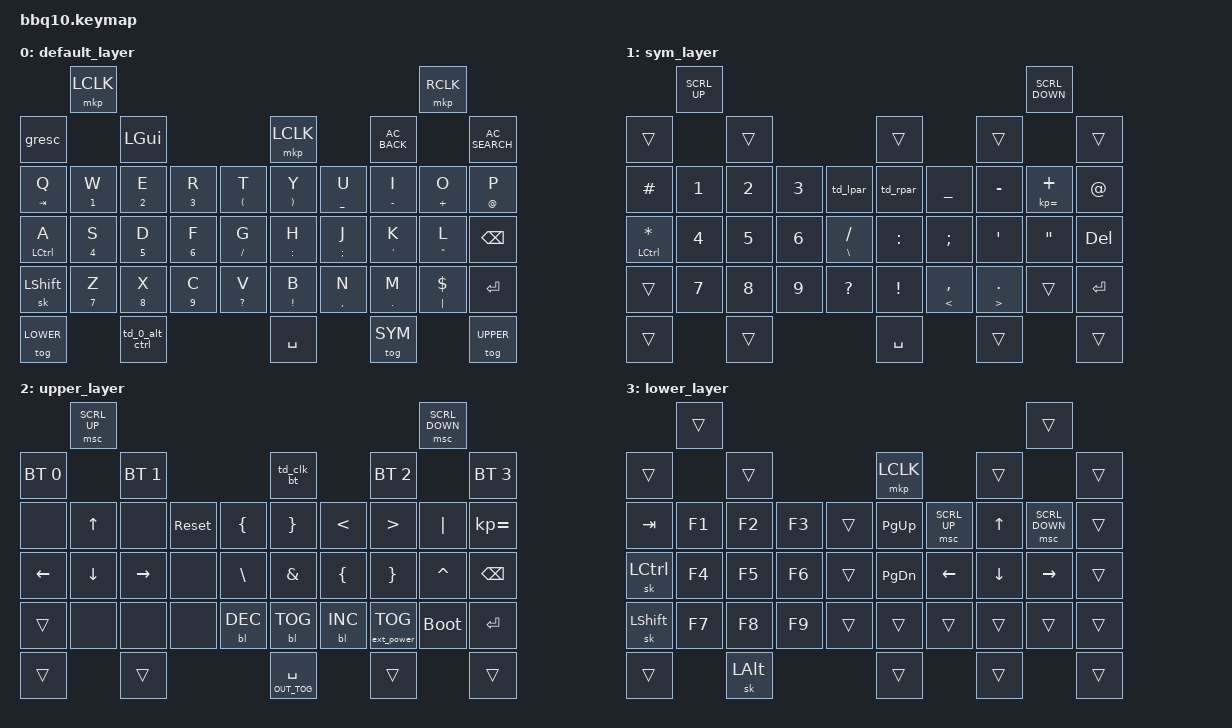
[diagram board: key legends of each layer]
/*
 * Copyright (c) 2023 ZitaoTech
 *
 * SPDX-License-Identifier: MIT
 */

#include <behaviors.dtsi>
#include <dt-bindings/zmk/keys.h>
#include <dt-bindings/zmk/bt.h>
#include <dt-bindings/zmk/outputs.h>
#include <dt-bindings/zmk/mouse.h>
#include <dt-bindings/zmk/backlight.h>
#include <dt-bindings/zmk/ext_power.h>
  
   
#define SYM 1
#define UPPER 2
#define LOWER 3

#define MO_TOG(layer) &mo_tog layer layer

&sk {
    release-after-ms = <3000>;
};


/ {
    behaviors {
        tap: tap {
            compatible = "zmk,behavior-macro-one-param";
                #binding-cells = <1>;
                bindings = <&macro_param_1to1 &kp MACRO_PLACEHOLDER>;
            };
    };
    behaviors {
  	    mtt: mod_tap_tap {
            compatible = "zmk,behavior-hold-tap";
            #binding-cells = <2>;
            flavor = "tap-preferred";
            tapping-term-ms = <200>;
            quick-tap-ms = <125>;
            require-prior-idle-ms = <125>;
            bindings = <&tap>, <&tap>;
        };
    };
    behaviors {
  	    sktt: mod_sk_tap {
            compatible = "zmk,behavior-hold-tap";
            #binding-cells = <2>;
            flavor = "tap-preferred";
            tapping-term-ms = <200>;
            quick-tap-ms = <125>;
            require-prior-idle-ms = <125>;
            bindings = <&sk>, <&tap>;  // press once to SK a mod, twice to tap
        };
    };
    behaviors {
        mo_tog: behavior_mo_tog {
            compatible = "zmk,behavior-hold-tap";
            #binding-cells = <2>;
            flavor = "hold-preferred";
            tapping-term-ms = <200>;
            bindings = <&mo>, <&tog>;
        };
    };
    behaviors {
        td_clk_bt: tap_dance_0 {
            compatible = "zmk,behavior-tap-dance";
            #binding-cells = <0>;
            tapping-term-ms = <400>;
            bindings = <&mkp LCLK>, <&bt BT_CLR>;
        };
    };
    behaviors {
        tog_out: tog_out {
            compatible = "zmk,behavior-hold-tap";
            #binding-cells = <2>;
            tapping-term-ms = <500>;
            bindings = <&out &kp>;
        };
    };
    behaviors {
        bhm: balanced_homerow_mods {
            compatible = "zmk,behavior-hold-tap";
            #binding-cells = <2>;
            tapping-term-ms = <200>;
            quick-tap-ms = <0>;
            flavor = "balanced";
            bindings = <&kp>, <&kp>;
        };
    };
    behaviors {
        td_lpar: lpar {
            compatible = "zmk,behavior-tap-dance";
            #binding-cells = <0>;
            tapping-term-ms = <400>;
            bindings = <&mtt LBKT LPAR>, <&mtt LT LBRC>;
        };
    };
    behaviors {
        td_lpar_t: lpar_t {
            compatible = "zmk,behavior-tap-dance";
            #binding-cells = <0>;
            tapping-term-ms = <400>;
            bindings = <&mtt LPAR T>, <&mtt LBRC LBKT>;
        };
    };
    behaviors {
        td_rpar: rpar {
            compatible = "zmk,behavior-tap-dance";
            #binding-cells = <0>;
            tapping-term-ms = <400>;
            bindings = <&mtt RBKT RPAR>, <&mtt GT RBRC>;
        };
    };
    behaviors {
        td_rpar_y: rpar_y {
            compatible = "zmk,behavior-tap-dance";
            #binding-cells = <0>;
            tapping-term-ms = <400>;
            bindings = <&mtt RPAR Y>, <&mtt RBRC RBKT>;
        };
    };
    behaviors {
        td_hash_gr_ti: hash_gr_ti {
            compatible = "zmk,behavior-tap-dance";
            #binding-cells = <0>;
            tapping-term-ms = <400>;
            bindings = <&kp HASH>, <&kp GRAVE>, <&kp TILDE>;
        };
    };
    behaviors {
        td_0_alt_ctrl: 0_alt_ctrl {
            compatible = "zmk,behavior-tap-dance";
            #binding-cells = <0>;
            tapping-term-ms = <400>;
            bindings = <&sk LCTRL>, <&sk LALT>, <&kp N0>;
        };
    };
    behaviors {
        gresc_inner: grave_escape_inner {
            compatible = "zmk,behavior-mod-morph";
            #binding-cells = <0>;
            bindings = <&kp GRAVE>, <&kp TILDE>;
            mods = <(MOD_LCTL|MOD_RCTL)>;
        };
    };
    behaviors {
        gresc: grave_escape {
            compatible = "zmk,behavior-mod-morph";
            #binding-cells = <0>;
            bindings = <&kp ESC>, <&gresc_inner>;
            mods = <(MOD_LSFT|MOD_RSFT)>;
        };
    };

    keymap {
        compatible = "zmk,keymap";

        default_layer {

            bindings = <
//         --------------------------------------------------------------------------------------------------------------------------         
//         |    Shoulder Key1    |                                                                             |    Shoulder Key2    |     
// |         Call key      |      Blackberry Key        |    Trackpad    |             Back Key                |             Endcall Key          |
// |     Q      |     W    |     E    |     R    |      T      |       Y        |       U        |        I        |       O      |      P        |     
// |     A      |     S    |     D    |     F    |      G      |       H        |       J        |        K        |       L      |      ←        |  
// |     alt    |     Z    |     X    |     C    |      V      |       B        |       N        |        M        |       $      |    Enter      |   
//        |         aA     |         0           |           SPACE              |         SYM         |        aA          |       
//        -----------------------------------------------------------------------------------------------------------------

                 &mkp LCLK                                                                                             &mkp RCLK
    &gresc                         &kp LGUI                                 &mkp LCLK                        &kp C_AC_BACK                       &kp C_AC_SEARCH
    &mtt TAB Q       &mtt N1 W     &mtt N2 E   &mtt N3 R   &mtt LPAR T      &mtt RPAR Y     &mtt UNDER U     &mtt MINUS I     &mtt PLUS O        &mtt AT P
    &bhm LCTRL A     &mtt N4 S     &mtt N5 D   &mtt N6 F   &mtt SLASH G     &mtt COLON H    &mtt SEMI J      &mtt APOS K      &mtt DQT L         &kp BSPC
    &sk LSHIFT       &mtt N7 Z     &mtt N8 X   &mtt N9 C   &mtt QMARK V     &mtt EXCL B     &mtt COMMA N     &mtt DOT M       &mtt PIPE DOLLAR   &kp ENTER
    &tog LOWER                     &td_0_alt_ctrl                           &kp SPACE                        &tog SYM                            &tog UPPER
            >;
        };


        sym_layer {

            bindings = <        
                 &kp SCRL_UP                                                                                     &kp SCRL_DOWN
    &trans                       &trans                                      &trans                           &trans                              &trans
    &kp HASH          &kp N1     &kp N2      &kp N3    &td_lpar              &td_rpar        &kp UNDER        &kp MINUS        &mtt KP_EQUAL PLUS &kp AT
    &bhm LCTRL STAR   &kp N4     &kp N5      &kp N6    &mtt BACKSLASH SLASH  &kp COLON       &kp SEMI         &kp APOS         &kp DQT            &kp DEL
    &trans            &kp N7     &kp N8      &kp N9    &kp QMARK             &kp EXCL        &mtt LT COMMA    &mtt GT DOT      &trans             &kp ENTER
    &trans                       &trans                                      &kp SPACE                        &trans                              &trans
            >;
        };

        upper_layer {

            bindings = <
                 &msc SCRL_UP                                                                                       &msc SCRL_DOWN
    &bt  BT_SEL 0            &bt BT_SEL 1                         &td_clk_bt                     &bt BT_SEL 2                        &bt BT_SEL 3
    &none         &kp UP     &none       &sys_reset &kp LBRC      &kp RBRC      &kp LT           &kp GT             &kp PIPE         &kp KP_EQUAL
    &kp  LEFT     &kp DOWN   &kp RIGHT   &none      &kp BSLH      &kp AMPS      &kp LBRC         &kp RBRC           &kp CARET        &kp BSPC
    &trans        &none      &none       &none      &bl BL_DEC    &bl BL_TOG    &bl BL_INC       &ext_power EP_TOG  &bootloader      &kp ENTER
    &trans                   &trans                               &tog_out OUT_TOG SPACE         &trans                              &trans
            >;
        };

        lower_layer {

            bindings = <
                 &trans                                                                                          &trans
    &trans                       &trans                              &mkp LCLK                   &trans                            &trans
    &kp TAB         &kp F1       &kp F2     &kp F3     &trans        &kp PAGE_UP   &msc SCRL_UP  &kp UP          &msc SCRL_DOWN    &trans
    &sk LCTRL       &kp F4       &kp F5     &kp F6     &trans        &kp PAGE_DOWN &kp LEFT      &kp DOWN        &kp RIGHT         &trans
    &sk LSHIFT      &kp F7       &kp F8     &kp F9     &trans        &trans        &trans        &trans          &trans            &trans
    &trans                       &sk LALT                            &trans                      &trans                            &trans
            >;
        };

    };
};

